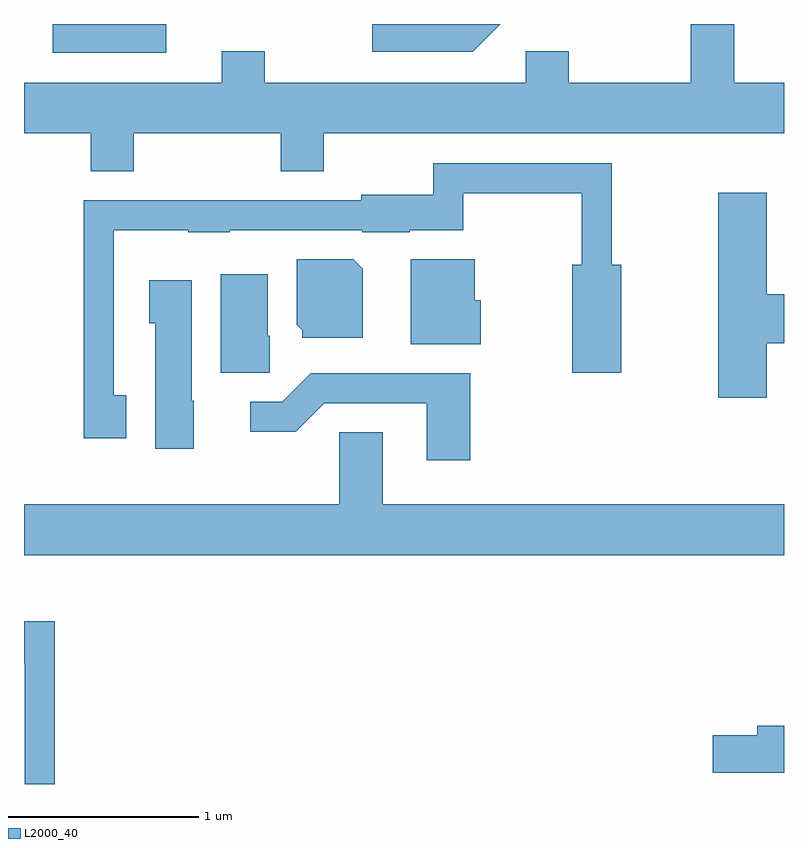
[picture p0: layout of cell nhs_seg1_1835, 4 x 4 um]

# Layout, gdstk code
import gdstk
lib = gdstk.Library(unit=1e-6, precision=1e-09)
def R(c, l, rs):  # rectangles x0, y0, x1, y1
    for r in rs: c.add(gdstk.rectangle(r[:2], r[2:], *l))
def P(c, l, *ps):  # polygons
    for p in ps: c.add(gdstk.Polygon(p, *l))
L2000_40 = (2000, 40)

nhs_seg1_1835 = lib.new_cell('nhs_seg1_1835')
R(nhs_seg1_1835, L2000_40, [(241.763,895.561,242.359,895.712)])
P(nhs_seg1_1835, L2000_40, [(242.189,895.136),(242.961,895.136),(242.961,894.936),(243.189,894.936),(243.189,895.136),(245.611,895.136),(245.611,895.404),(245.349,895.404),(245.349,895.712),(245.121,895.712),(245.121,895.404),(244.479,895.404),(244.479,895.569),(244.251,895.569),(244.251,895.404),(242.879,895.404),(242.879,895.569),(242.651,895.569),(242.651,895.404),(241.611,895.404),(241.611,895.136),(241.961,895.136),(241.961,894.936),(242.189,894.936)],
  [(244.117,895.712),(243.443,895.712),(243.443,895.566),(243.972,895.566)],
  [(242.149,893.759),(242.084,893.759),(242.084,894.626),(242.475,894.626),(242.475,894.616),(242.695,894.616),(242.695,894.626),(243.39,894.626),(243.39,894.616),(243.64,894.616),(243.64,894.626),(243.924,894.626),(243.924,894.821),(244.546,894.821),(244.546,894.444),(244.496,894.444),(244.496,893.876),(244.754,893.876),(244.754,894.444),(244.704,894.444),(244.704,894.979),(243.766,894.979),(243.766,894.814),(243.386,894.814),(243.386,894.784),(241.926,894.784),(241.926,893.531),(242.149,893.531)],
  [(245.519,894.031),(245.611,894.031),(245.611,894.289),(245.519,894.289),(245.519,894.824),(245.266,894.824),(245.266,893.746),(245.519,893.746)],
  [(244.014,894.259),(243.984,894.259),(243.984,894.474),(243.646,894.474),(243.646,894.026),(244.014,894.026)],
  [(243.394,894.424),(243.344,894.474),(243.046,894.474),(243.046,894.129),(243.076,894.099),(243.076,894.061),(243.394,894.061)],
  [(242.904,894.07),(242.894,894.07),(242.894,894.394),(242.646,894.394),(242.646,893.876),(242.904,893.876)],
  [(242.504,893.73),(242.494,893.73),(242.494,894.364),(242.271,894.364),(242.271,894.136),(242.301,894.136),(242.301,893.476),(242.504,893.476)],
  [(243.959,893.874),(243.119,893.874),(242.969,893.724),(242.803,893.724),(242.803,893.566),(243.042,893.566),(243.192,893.716),(243.731,893.716),(243.731,893.416),(243.959,893.416)],
  [(245.611,893.184),(243.499,893.184),(243.499,893.564),(243.271,893.564),(243.271,893.184),(241.611,893.184),(241.611,892.916),(245.611,892.916)],
  [(241.774,892.569),(241.611,892.569),(241.611,892.341),(241.616,892.341),(241.616,891.712),(241.774,891.712)],
  [(245.611,892.019),(245.471,892.019),(245.471,891.969),(245.236,891.969),(245.236,891.771),(245.611,891.771)])

lib.write_gds('nhs_seg1_1835.gds')
